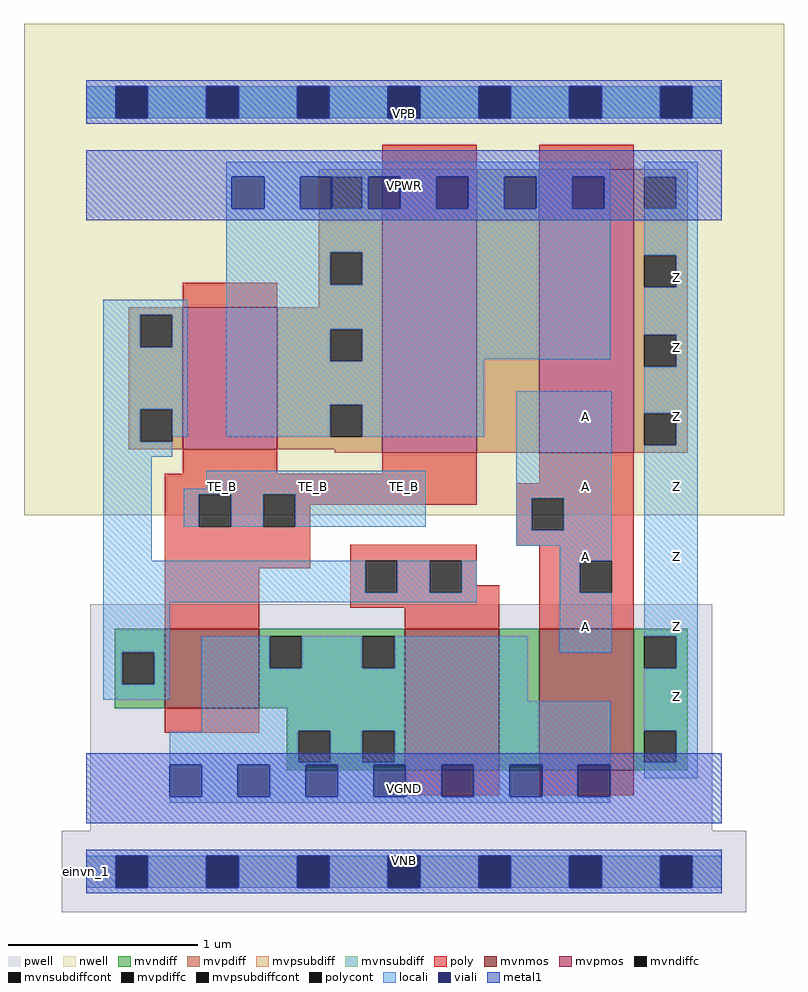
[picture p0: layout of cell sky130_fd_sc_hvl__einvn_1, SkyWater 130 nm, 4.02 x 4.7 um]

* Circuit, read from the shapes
.subckt sky130_fd_sc_hvl__einvn_1 A TE_B VGND VNB VPB VPWR Z
XM1 VGND TE_B n1 VNB sky130_fd_pr__nfet_g5v0d10v5 w=0.42 l=0.5
XM2 n2 n1 VGND VNB sky130_fd_pr__nfet_g5v0d10v5 w=0.75 l=0.5
XM3 Z A n2 VNB sky130_fd_pr__nfet_g5v0d10v5 w=0.75 l=0.5
XM4 VPWR TE_B n1 VPB sky130_fd_pr__pfet_g5v0d10v5 w=0.75 l=0.5
XM5 n3 TE_B VPWR VPB sky130_fd_pr__pfet_g5v0d10v5 w=1.5 l=0.5
XM6 Z A n3 VPB sky130_fd_pr__pfet_g5v0d10v5 w=1.5 l=0.5
.ends

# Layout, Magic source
magic
tech sky130A
magscale 1 2
<< nwell >>
rect -66 377 738 897
<< pwell >>
rect 4 43 662 283
rect -26 -43 698 43
<< mvnmos >>
rect 83 173 183 257
rect 337 107 437 257
rect 479 107 579 257
<< mvpmos >>
rect 102 447 202 597
rect 313 443 413 743
rect 479 443 579 743
<< mvndiff >>
rect 30 232 83 257
rect 30 198 38 232
rect 72 198 83 232
rect 30 173 83 198
rect 183 249 337 257
rect 183 215 194 249
rect 228 215 292 249
rect 326 215 337 249
rect 183 173 337 215
rect 212 149 337 173
rect 212 115 224 149
rect 258 115 292 149
rect 326 115 337 149
rect 212 107 337 115
rect 437 107 479 257
rect 579 249 636 257
rect 579 215 590 249
rect 624 215 636 249
rect 579 149 636 215
rect 579 115 590 149
rect 624 115 636 149
rect 579 107 636 115
<< mvpdiff >>
rect 246 735 313 743
rect 246 701 258 735
rect 292 701 313 735
rect 246 655 313 701
rect 246 621 258 655
rect 292 621 313 655
rect 246 597 313 621
rect 45 589 102 597
rect 45 555 57 589
rect 91 555 102 589
rect 45 489 102 555
rect 45 455 57 489
rect 91 455 102 489
rect 45 447 102 455
rect 202 574 313 597
rect 202 540 258 574
rect 292 540 313 574
rect 202 494 313 540
rect 202 460 258 494
rect 292 460 313 494
rect 202 447 313 460
rect 263 443 313 447
rect 413 443 479 743
rect 579 735 636 743
rect 579 701 590 735
rect 624 701 636 735
rect 579 652 636 701
rect 579 618 590 652
rect 624 618 636 652
rect 579 568 636 618
rect 579 534 590 568
rect 624 534 636 568
rect 579 485 636 534
rect 579 451 590 485
rect 624 451 636 485
rect 579 443 636 451
<< mvndiffc >>
rect 38 198 72 232
rect 194 215 228 249
rect 292 215 326 249
rect 224 115 258 149
rect 292 115 326 149
rect 590 215 624 249
rect 590 115 624 149
<< mvpdiffc >>
rect 258 701 292 735
rect 258 621 292 655
rect 57 555 91 589
rect 57 455 91 489
rect 258 540 292 574
rect 258 460 292 494
rect 590 701 624 735
rect 590 618 624 652
rect 590 534 624 568
rect 590 451 624 485
<< mvpsubdiff >>
rect 0 -17 31 17
rect 65 -17 127 17
rect 161 -17 223 17
rect 257 -17 319 17
rect 353 -17 415 17
rect 449 -17 511 17
rect 545 -17 607 17
rect 641 -17 672 17
<< mvnsubdiff >>
rect 0 797 31 831
rect 65 797 127 831
rect 161 797 223 831
rect 257 797 319 831
rect 353 797 415 831
rect 449 797 511 831
rect 545 797 607 831
rect 641 797 672 831
<< mvpsubdiffcont >>
rect 31 -17 65 17
rect 127 -17 161 17
rect 223 -17 257 17
rect 319 -17 353 17
rect 415 -17 449 17
rect 511 -17 545 17
rect 607 -17 641 17
<< mvnsubdiffcont >>
rect 31 797 65 831
rect 127 797 161 831
rect 223 797 257 831
rect 319 797 353 831
rect 415 797 449 831
rect 511 797 545 831
rect 607 797 641 831
<< poly >>
rect 313 743 413 769
rect 479 743 579 769
rect 102 597 202 623
rect 102 421 202 447
rect 313 421 413 443
rect 83 399 413 421
rect 479 411 579 443
rect 83 365 119 399
rect 153 365 187 399
rect 221 388 413 399
rect 455 395 579 411
rect 221 365 237 388
rect 83 321 237 365
rect 455 361 471 395
rect 505 361 579 395
rect 279 329 413 346
rect 455 345 579 361
rect 83 257 183 321
rect 279 295 295 329
rect 329 295 363 329
rect 397 303 413 329
rect 479 329 579 345
rect 397 295 437 303
rect 279 279 437 295
rect 337 257 437 279
rect 479 295 522 329
rect 556 295 579 329
rect 479 257 579 295
rect 83 147 183 173
rect 337 81 437 107
rect 479 81 579 107
<< polycont >>
rect 119 365 153 399
rect 187 365 221 399
rect 471 361 505 395
rect 295 295 329 329
rect 363 295 397 329
rect 522 295 556 329
<< locali >>
rect 0 797 31 831
rect 65 797 127 831
rect 161 797 223 831
rect 257 797 319 831
rect 353 797 415 831
rect 449 797 511 831
rect 545 797 607 831
rect 641 797 672 831
rect 148 735 554 751
rect 148 701 154 735
rect 188 701 226 735
rect 292 701 298 735
rect 332 701 370 735
rect 404 701 442 735
rect 476 701 514 735
rect 548 701 554 735
rect 148 655 554 701
rect 148 621 258 655
rect 292 621 554 655
rect 18 589 107 605
rect 18 555 57 589
rect 91 555 107 589
rect 18 489 107 555
rect 18 455 57 489
rect 91 460 107 489
rect 148 574 554 621
rect 148 540 258 574
rect 292 542 554 574
rect 590 735 647 751
rect 624 701 647 735
rect 590 652 647 701
rect 624 618 647 652
rect 590 568 647 618
rect 292 540 421 542
rect 148 494 421 540
rect 624 534 647 568
rect 148 460 258 494
rect 292 460 421 494
rect 18 439 91 455
rect 18 329 69 439
rect 127 405 359 424
rect 103 399 359 405
rect 103 365 119 399
rect 153 365 187 399
rect 221 365 359 399
rect 455 395 556 508
rect 455 361 471 395
rect 505 361 556 395
rect 455 345 556 361
rect 501 329 556 345
rect 18 295 295 329
rect 329 295 363 329
rect 397 295 413 329
rect 18 285 413 295
rect 501 295 522 329
rect 18 232 88 285
rect 18 198 38 232
rect 72 198 88 232
rect 18 182 88 198
rect 122 215 194 249
rect 228 215 292 249
rect 326 215 467 249
rect 501 232 556 295
rect 590 485 647 534
rect 624 451 647 485
rect 590 249 647 451
rect 122 180 467 215
rect 624 215 647 249
rect 122 149 554 180
rect 122 148 224 149
rect 88 115 224 148
rect 258 115 292 149
rect 326 115 554 149
rect 88 113 554 115
rect 122 79 160 113
rect 194 79 232 113
rect 266 79 304 113
rect 338 79 376 113
rect 410 79 448 113
rect 482 79 520 113
rect 590 149 647 215
rect 624 115 647 149
rect 590 99 647 115
rect 88 73 554 79
rect 0 -17 31 17
rect 65 -17 127 17
rect 161 -17 223 17
rect 257 -17 319 17
rect 353 -17 415 17
rect 449 -17 511 17
rect 545 -17 607 17
rect 641 -17 672 17
<< viali >>
rect 31 797 65 831
rect 127 797 161 831
rect 223 797 257 831
rect 319 797 353 831
rect 415 797 449 831
rect 511 797 545 831
rect 607 797 641 831
rect 154 701 188 735
rect 226 701 258 735
rect 258 701 260 735
rect 298 701 332 735
rect 370 701 404 735
rect 442 701 476 735
rect 514 701 548 735
rect 88 79 122 113
rect 160 79 194 113
rect 232 79 266 113
rect 304 79 338 113
rect 376 79 410 113
rect 448 79 482 113
rect 520 79 554 113
rect 31 -17 65 17
rect 127 -17 161 17
rect 223 -17 257 17
rect 319 -17 353 17
rect 415 -17 449 17
rect 511 -17 545 17
rect 607 -17 641 17
<< metal1 >>
rect 0 831 672 837
rect 0 797 31 831
rect 65 797 127 831
rect 161 797 223 831
rect 257 797 319 831
rect 353 797 415 831
rect 449 797 511 831
rect 545 797 607 831
rect 641 797 672 831
rect 0 791 672 797
rect 0 735 672 763
rect 0 701 154 735
rect 188 701 226 735
rect 260 701 298 735
rect 332 701 370 735
rect 404 701 442 735
rect 476 701 514 735
rect 548 701 672 735
rect 0 689 672 701
rect 0 113 672 125
rect 0 79 88 113
rect 122 79 160 113
rect 194 79 232 113
rect 266 79 304 113
rect 338 79 376 113
rect 410 79 448 113
rect 482 79 520 113
rect 554 79 672 113
rect 0 51 672 79
rect 0 17 672 23
rect 0 -17 31 17
rect 65 -17 127 17
rect 161 -17 223 17
rect 257 -17 319 17
rect 353 -17 415 17
rect 449 -17 511 17
rect 545 -17 607 17
rect 641 -17 672 17
rect 0 -23 672 -17
<< labels >>
rlabel comment s 0 0 0 0 4 einvn_1
flabel metal1 s 0 51 672 125 0 FreeSans 340 0 0 0 VGND
port 3 nsew ground bidirectional
flabel metal1 s 0 0 672 23 0 FreeSans 340 0 0 0 VNB
port 4 nsew ground bidirectional
flabel metal1 s 0 689 672 763 0 FreeSans 340 0 0 0 VPWR
port 6 nsew power bidirectional
flabel metal1 s 0 791 672 814 0 FreeSans 340 0 0 0 VPB
port 5 nsew power bidirectional
flabel locali s 127 390 161 424 0 FreeSans 340 0 0 0 TE_B
port 2 nsew signal input
flabel locali s 223 390 257 424 0 FreeSans 340 0 0 0 TE_B
port 2 nsew signal input
flabel locali s 319 390 353 424 0 FreeSans 340 0 0 0 TE_B
port 2 nsew signal input
flabel locali s 511 242 545 276 0 FreeSans 340 0 0 0 A
port 1 nsew signal input
flabel locali s 511 464 545 498 0 FreeSans 340 0 0 0 A
port 1 nsew signal input
flabel locali s 511 316 545 350 0 FreeSans 340 0 0 0 A
port 1 nsew signal input
flabel locali s 511 390 545 424 0 FreeSans 340 0 0 0 A
port 1 nsew signal input
flabel locali s 607 168 641 202 0 FreeSans 340 0 0 0 Z
port 7 nsew signal output
flabel locali s 607 242 641 276 0 FreeSans 340 0 0 0 Z
port 7 nsew signal output
flabel locali s 607 316 641 350 0 FreeSans 340 0 0 0 Z
port 7 nsew signal output
flabel locali s 607 390 641 424 0 FreeSans 340 0 0 0 Z
port 7 nsew signal output
flabel locali s 607 464 641 498 0 FreeSans 340 0 0 0 Z
port 7 nsew signal output
flabel locali s 607 538 641 572 0 FreeSans 340 0 0 0 Z
port 7 nsew signal output
flabel locali s 607 612 641 646 0 FreeSans 340 0 0 0 Z
port 7 nsew signal output
<< properties >>
string FIXED_BBOX 0 0 672 814
string GDS_END 1229982
string GDS_FILE $PDKPATH/libs.ref/sky130_fd_sc_hvl/gds/sky130_fd_sc_hvl.gds
string GDS_START 1220214
string LEFclass CORE
string LEFsite unithv
string LEFsymmetry X Y
<< end >>
